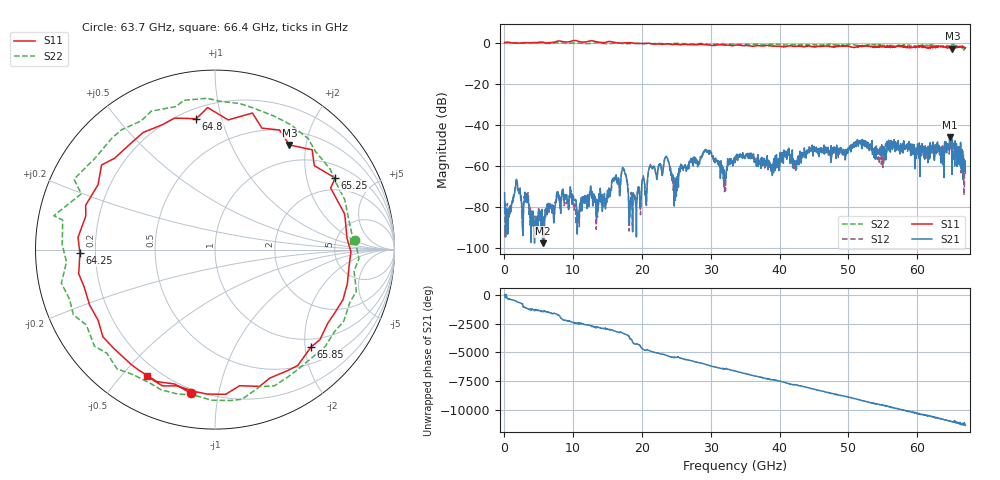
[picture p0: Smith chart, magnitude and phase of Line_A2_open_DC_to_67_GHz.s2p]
#  HZ  S  MA  R  50.00
! Rohde & Schwarz ZVA67 4Ports - Version 4.11 - 1305.7002k04 SN: 101051
! Date: 2023-05-31 11:54:00
! Measurements: S11 S21 S12 S22
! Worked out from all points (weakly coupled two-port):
!   1340 points, 50 MHz to 67 GHz, reference 50 ohm
!   highest |S21| = -45.99 dB at 64.7 GHz (marker M1); lowest = -97.6 dB at 5.6 GHz (marker M2)
!   lowest |S11| = -2.9 dB at 65.1 GHz (marker M3), VSWR 6.03, Z = 35.7 + j85.4 ohm
!   |S11| at or under -10 dB: nowhere
!   |S22| runs from -3.7 to 0.1 dB; largest |S21 - S12| = 0.0036
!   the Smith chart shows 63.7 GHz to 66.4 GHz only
!   S11 on the Smith chart (normalised r, x): 63.7 GHz: 0.18, -0.83; 64.25 GHz: 0.14, -0.01; 64.8 GHz: 0.26, +0.83; 65.25 GHz: 1.47, +2.97; 65.85 GHz: 0.83, -2.13; 66.4 GHz: 0.15, -0.59
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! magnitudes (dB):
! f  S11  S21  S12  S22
! 50 MHz  0.0  -73.1  -76.9  0.0
! 5.6 GHz  0.2  -97.6  -86.4  -0.3
! 11.25 GHz  0.3  -82.0  -79.2  -0.4
! 17.35 GHz  -0.2  -62.0  -61.5  -0.5
! 18.35 GHz  0.0  -78.6  -77.0  -0.4
! 22.4 GHz  -0.6  -60.1  -60.6  -0.4
! 23.6 GHz  -0.5  -56.0  -55.9  -0.6
! 24.95 GHz  -0.8  -69.0  -69.3  -0.4
! 29.15 GHz  -1.0  -52.3  -52.6  -0.6
! 31.9 GHz  -1.2  -61.8  -69.9  -0.7
! 33.55 GHz  -1.3  -58.4  -56.3  -0.7
! 44.7 GHz  -1.9  -52.1  -51.7  -1.0
! 55.85 GHz  -2.0  -47.5  -50.0  -1.5
! 63.7 GHz  -1.8  -59.4  -52.4  -2.1
! 64.25 GHz  -2.5  -53.4  -50.6  -1.6
! 64.7 GHz  -2.4  -46.0  -50.7  -1.6
! 64.8 GHz  -2.7  -48.9  -51.0  -1.6
! 65.1 GHz  -2.9  -47.5  -50.5  -1.6
! 65.25 GHz  -2.2  -56.8  -48.2  -0.7
! 65.85 GHz  -2.4  -54.0  -52.8  -1.6
! 66.4 GHz  -1.9  -61.4  -52.7  -2.2
! 67 GHz  -2.6  -63.5  -58.7  -2.4
